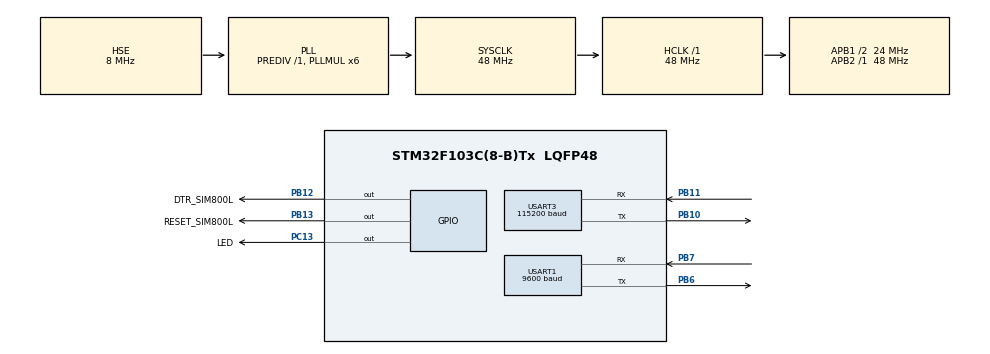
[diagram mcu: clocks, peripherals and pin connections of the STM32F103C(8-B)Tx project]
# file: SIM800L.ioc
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FREERTOS.Queues01=send_date,1,AMessage,0,Dynamic,NULL,NULL
FREERTOS.Tasks01=defaultTask,1,128,StartDefaultTask,Default,NULL,Dynamic,NULL,NULL;GPS,0,300,get_gps_str,Default,NULL,Dynamic,NULL,NULL;SIM800l,-1,300,sim800l_send,Default,NULL,Dynamic,NULL,NULL
FREERTOS.configTOTAL_HEAP_SIZE=10000
FREERTOS.configUSE_STATS_FORMATTING_FUNCTIONS=0
FREERTOS.configUSE_TRACE_FACILITY=0
Mcu.Family=STM32F1
Mcu.Name=STM32F103C(8-B)Tx
Mcu.Package=LQFP48
NVIC.PriorityGroup=NVIC_PRIORITYGROUP_4
NVIC.TIM1_UP_IRQn=true\:0\:0\:false\:false\:true\:false\:false\:true
NVIC.TimeBase=TIM1_UP_IRQn
NVIC.TimeBaseIP=TIM1
PA13.Mode=Trace_Asynchronous_SW
PA13.Signal=SYS_JTMS-SWDIO
PA14.Mode=Trace_Asynchronous_SW
PA14.Signal=SYS_JTCK-SWCLK
PB10.Mode=Asynchronous
PB10.Signal=USART3_TX
PB11.Mode=Asynchronous
PB11.Signal=USART3_RX
PB12.GPIO_Label=DTR_SIM800L
PB12.Signal=GPIO_Output
PB13.GPIO_Label=RESET_SIM800L
PB13.PinState=GPIO_PIN_SET
PB13.Signal=GPIO_Output
PB3.Mode=Trace_Asynchronous_SW
PB3.Signal=SYS_JTDO-TRACESWO
PB6.Mode=Asynchronous
PB6.Signal=USART1_TX
PB7.Mode=Asynchronous
PB7.Signal=USART1_RX
PC13-TAMPER-RTC.GPIO_Label=LED
PC13-TAMPER-RTC.PinState=GPIO_PIN_SET
PC13-TAMPER-RTC.Signal=GPIO_Output
PC14-OSC32_IN.Mode=LSE-External-Oscillator
PC14-OSC32_IN.Signal=RCC_OSC32_IN
PC15-OSC32_OUT.Mode=LSE-External-Oscillator
PC15-OSC32_OUT.Signal=RCC_OSC32_OUT
PD0-OSC_IN.Mode=HSE-External-Oscillator
PD0-OSC_IN.Signal=RCC_OSC_IN
PD1-OSC_OUT.Mode=HSE-External-Oscillator
PD1-OSC_OUT.Signal=RCC_OSC_OUT
ProjectManager.HeapSize=0x200
ProjectManager.StackSize=0x400
ProjectManager.TargetToolchain=MDK-ARM V5.27
RCC.AHBFreq_Value=48000000
RCC.APB1CLKDivider=RCC_HCLK_DIV2
RCC.APB1Freq_Value=24000000
RCC.APB1TimFreq_Value=48000000
RCC.APB2Freq_Value=48000000
RCC.APB2TimFreq_Value=48000000
RCC.HCLKFreq_Value=48000000
RCC.PLLMUL=RCC_PLL_MUL6
RCC.PLLSourceVirtual=RCC_PLLSOURCE_HSE
RCC.RTCClockSelection=RCC_RTCCLKSOURCE_LSE
RCC.SYSCLKFreq_VALUE=48000000
RCC.SYSCLKSource=RCC_SYSCLKSOURCE_PLLCLK
RCC.USBFreq_Value=48000000
RTC.Format=RTC_FORMAT_BIN
USART1.BaudRate=9600
USART1.Mode=MODE_RX
USART1.VirtualMode=VM_ASYNC
USART3.BaudRate=115200
USART3.VirtualMode=VM_ASYNC
VP_FREERTOS_VS_CMSIS_V1.Mode=CMSIS_V1
VP_RTC_No_RTC_Output.Mode=RTC_OUT_NO
VP_RTC_VS_RTC_Activate.Mode=RTC_Enabled
VP_RTC_VS_RTC_Calendar.Mode=RTC_Calendar
VP_SYS_VS_tim1.Mode=TIM1
board=custom

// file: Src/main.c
/* USER CODE BEGIN Header */
/**
  ******************************************************************************
  * @file           : main.h
  * @brief          : Header for main.c file.
  *                   This file contains the common defines of the application.
  ******************************************************************************
  * @attention
  *
  * <h2><center>&copy; Copyright (c) 2020 STMicroelectronics.
  * All rights reserved.</center></h2>
  *
  * This software component is licensed by ST under BSD 3-Clause license,
  * the "License"; You may not use this file except in compliance with the
  * License. You may obtain a copy of the License at:
  *                        opensource.org/licenses/BSD-3-Clause
  *
  ******************************************************************************
  */
/* USER CODE END Header */

#include "main.h"
#include "cmsis_os.h"

/* USER CODE BEGIN Includes */
#include <stdio.h>
#include <stdbool.h>
#include <string.h>
#include "my_function.h"
#include "my_asm.h"
//#include <stdarg.h>
//#include <stdbool.h>
//#include <stdlib.h>
/* USER CODE END Includes */

/* USER CODE BEGIN PTD */
typedef char AMessage[22];
/* USER CODE END PTD */

RTC_HandleTypeDef hrtc;

UART_HandleTypeDef huart1;
UART_HandleTypeDef huart3;

osThreadId defaultTaskHandle;
osThreadId GPSHandle;
osThreadId SIM800lHandle;
osMessageQId send_dateHandle;

void SystemClock_Config(void);
static void MX_GPIO_Init(void);
static void MX_USART1_UART_Init(void);
static void MX_USART3_UART_Init(void);
static void MX_RTC_Init(void);
void StartDefaultTask(void const * argument);
void get_gps_str(void const * argument);
void sim800l_send(void const * argument);

int main(void)
{
  /* USER CODE BEGIN 1 */
		const char *a = "Hello world!";
    char b[20];
    my_strcpy(a, b);

	//void (*fp)(void) = (void (*)(void))(0x00000000);
    //fp();

//my_HardFault_Handler();
  /* USER CODE END 1 */

  /* MCU Configuration--------------------------------------------------------*/

  /* Reset of all peripherals, Initializes the Flash interface and the Systick. */
  HAL_Init();

  /* Configure the system clock */
  SystemClock_Config();

  /* Initialize all configured peripherals */
  MX_GPIO_Init();
  MX_USART1_UART_Init();
  MX_USART3_UART_Init();
  MX_RTC_Init();

  /* Create the queue(s) */
  /* definition and creation of send_date */
  osMessageQDef(send_date, 1, AMessage);
  send_dateHandle = osMessageCreate(osMessageQ(send_date), NULL);

  /* Create the thread(s) */
  /* definition and creation of defaultTask */
  osThreadDef(defaultTask, StartDefaultTask, osPriorityAboveNormal, 0, 128);
  defaultTaskHandle = osThreadCreate(osThread(defaultTask), NULL);

  /* definition and creation of GPS */
  osThreadDef(GPS, get_gps_str, osPriorityNormal, 0, 300);
  GPSHandle = osThreadCreate(osThread(GPS), NULL);

  /* definition and creation of SIM800l */
  osThreadDef(SIM800l, sim800l_send, osPriorityBelowNormal, 0, 300);
  SIM800lHandle = osThreadCreate(osThread(SIM800l), NULL);

  /* Start scheduler */
  osKernelStart();

  /* We should never get here as control is now taken by the scheduler */

  /* Infinite loop */
  while (1)
  {

  }
}

void SystemClock_Config(void)
{
  RCC_OscInitTypeDef RCC_OscInitStruct = {0};
  RCC_ClkInitTypeDef RCC_ClkInitStruct = {0};
  RCC_PeriphCLKInitTypeDef PeriphClkInit = {0};

  /** Initializes the CPU, AHB and APB busses clocks
  */
  RCC_OscInitStruct.OscillatorType = RCC_OSCILLATORTYPE_HSE|RCC_OSCILLATORTYPE_LSE;
  RCC_OscInitStruct.HSEState = RCC_HSE_ON;
  RCC_OscInitStruct.HSEPredivValue = RCC_HSE_PREDIV_DIV1;
  RCC_OscInitStruct.LSEState = RCC_LSE_ON;
  RCC_OscInitStruct.HSIState = RCC_HSI_ON;
  RCC_OscInitStruct.PLL.PLLState = RCC_PLL_ON;
  RCC_OscInitStruct.PLL.PLLSource = RCC_PLLSOURCE_HSE;
  RCC_OscInitStruct.PLL.PLLMUL = RCC_PLL_MUL6;
  if (HAL_RCC_OscConfig(&RCC_OscInitStruct) != HAL_OK)
  {
    Error_Handler();
  }
  /** Initializes the CPU, AHB and APB busses clocks
  */
  RCC_ClkInitStruct.ClockType = RCC_CLOCKTYPE_HCLK|RCC_CLOCKTYPE_SYSCLK
                              |RCC_CLOCKTYPE_PCLK1|RCC_CLOCKTYPE_PCLK2;
  RCC_ClkInitStruct.SYSCLKSource = RCC_SYSCLKSOURCE_PLLCLK;
  RCC_ClkInitStruct.AHBCLKDivider = RCC_SYSCLK_DIV1;
  RCC_ClkInitStruct.APB1CLKDivider = RCC_HCLK_DIV2;
  RCC_ClkInitStruct.APB2CLKDivider = RCC_HCLK_DIV1;

  if (HAL_RCC_ClockConfig(&RCC_ClkInitStruct, FLASH_LATENCY_1) != HAL_OK)
  {
    Error_Handler();
  }
  PeriphClkInit.PeriphClockSelection = RCC_PERIPHCLK_RTC;
  PeriphClkInit.RTCClockSelection = RCC_RTCCLKSOURCE_LSE;
  if (HAL_RCCEx_PeriphCLKConfig(&PeriphClkInit) != HAL_OK)
  {
    Error_Handler();
  }
}

static void MX_RTC_Init(void)
{

  RTC_TimeTypeDef sTime = {0};
  RTC_DateTypeDef DateToUpdate = {0};

  /** Initialize RTC Only
  */
  hrtc.Instance = RTC;
  hrtc.Init.AsynchPrediv = RTC_AUTO_1_SECOND;
  hrtc.Init.OutPut = RTC_OUTPUTSOURCE_NONE;
  if (HAL_RTC_Init(&hrtc) != HAL_OK)
  {
    Error_Handler();
  }

  /** Initialize RTC and set the Time and Date
  */
  sTime.Hours = 0;
  sTime.Minutes = 0;
  sTime.Seconds = 0;

  if (HAL_RTC_SetTime(&hrtc, &sTime, RTC_FORMAT_BIN) != HAL_OK)
  {
    Error_Handler();
  }
  DateToUpdate.WeekDay = RTC_WEEKDAY_MONDAY;
  DateToUpdate.Month = RTC_MONTH_JANUARY;
  DateToUpdate.Date = 1;
  DateToUpdate.Year = 0;

  if (HAL_RTC_SetDate(&hrtc, &DateToUpdate, RTC_FORMAT_BIN) != HAL_OK)
  {
    Error_Handler();
  }

}

static void MX_USART1_UART_Init(void)
{

  huart1.Instance = USART1;
  huart1.Init.BaudRate = 9600;
  huart1.Init.WordLength = UART_WORDLENGTH_8B;
  huart1.Init.StopBits = UART_STOPBITS_1;
  huart1.Init.Parity = UART_PARITY_NONE;
  huart1.Init.Mode = UART_MODE_RX;
  huart1.Init.HwFlowCtl = UART_HWCONTROL_NONE;
  huart1.Init.OverSampling = UART_OVERSAMPLING_16;
  if (HAL_UART_Init(&huart1) != HAL_OK)
  {
    Error_Handler();
  }

}

static void MX_USART3_UART_Init(void)
{

  huart3.Instance = USART3;
  huart3.Init.BaudRate = 115200;
  huart3.Init.WordLength = UART_WORDLENGTH_8B;
  huart3.Init.StopBits = UART_STOPBITS_1;
  huart3.Init.Parity = UART_PARITY_NONE;
  huart3.Init.Mode = UART_MODE_TX_RX;
  huart3.Init.HwFlowCtl = UART_HWCONTROL_NONE;
  huart3.Init.OverSampling = UART_OVERSAMPLING_16;
  if (HAL_UART_Init(&huart3) != HAL_OK)
  {
    Error_Handler();
  }

}

static void MX_GPIO_Init(void)
{
  GPIO_InitTypeDef GPIO_InitStruct = {0};

  /* GPIO Ports Clock Enable */
  __HAL_RCC_GPIOC_CLK_ENABLE();
  __HAL_RCC_GPIOD_CLK_ENABLE();
  __HAL_RCC_GPIOB_CLK_ENABLE();
  __HAL_RCC_GPIOA_CLK_ENABLE();

  /*Configure GPIO pin Output Level */
  HAL_GPIO_WritePin(LED_GPIO_Port, LED_Pin, GPIO_PIN_SET);

  /*Configure GPIO pin Output Level */
  HAL_GPIO_WritePin(DTR_SIM800L_GPIO_Port, DTR_SIM800L_Pin, GPIO_PIN_RESET);

  /*Configure GPIO pin Output Level */
  HAL_GPIO_WritePin(RESET_SIM800L_GPIO_Port, RESET_SIM800L_Pin, GPIO_PIN_SET);

  /*Configure GPIO pin : LED_Pin */
  GPIO_InitStruct.Pin = LED_Pin;
  GPIO_InitStruct.Mode = GPIO_MODE_OUTPUT_PP;
  GPIO_InitStruct.Pull = GPIO_NOPULL;
  GPIO_InitStruct.Speed = GPIO_SPEED_FREQ_LOW;
  HAL_GPIO_Init(LED_GPIO_Port, &GPIO_InitStruct);

  /*Configure GPIO pins : DTR_SIM800L_Pin RESET_SIM800L_Pin */
  GPIO_InitStruct.Pin = DTR_SIM800L_Pin|RESET_SIM800L_Pin;
  GPIO_InitStruct.Mode = GPIO_MODE_OUTPUT_PP;
  GPIO_InitStruct.Pull = GPIO_NOPULL;
  GPIO_InitStruct.Speed = GPIO_SPEED_FREQ_LOW;
  HAL_GPIO_Init(GPIOB, &GPIO_InitStruct);

}

void StartDefaultTask(void const * argument)
{
  /* USER CODE BEGIN 5 */
//		static char buf[20];
//		char* pointer;
  /* Infinite loop */
  for(;;)
  {
	while(set_RTC());//���������� ����
		HAL_GPIO_WritePin(LED_GPIO_Port, LED_Pin, GPIO_PIN_RESET);
		HAL_Delay(500);
		printf("Date and time successfully set!\r\n");
	osDelay(1);
	}

  /* USER CODE END 5 */
}

void get_gps_str(void const * argument)
{
  /* USER CODE BEGIN get_gps_str */
	//char buf[200];
	char* tmp;

	vTaskSuspend(defaultTaskHandle);//������ �������� � ������ ������ "StartDefaultTask()"
	HAL_GPIO_WritePin(LED_GPIO_Port, LED_Pin, GPIO_PIN_SET);

  /* Infinite loop */
  for(;;)
  {
		//printf("Task \"get_gps_str\" start!\r\n");
		do{tmp=make_array_of_coordinate();}
		while(tmp==false);
			xQueueSend(send_dateHandle,tmp,0);
			printf("Coordinates sent to the queue OK!\r\n");
		//printf("Task \"get_gps_str\" stop!\r\n");
//		vTaskList(buf);
//		printf("%s\r\n",buf);
    osDelay(1);
  }
  /* USER CODE END get_gps_str */
}

void sim800l_send(void const * argument)
{
  /* USER CODE BEGIN sim800l_send */
	AMessage Message_str;
	uint8_t foult_countner=0;
	//char buf[200];
  /* Infinite loop */
  for(;;)
  {
		//printf("Task \"sim800l_send\" start!\r\n");
		vTaskSuspend(GPSHandle);// ������ � ������ ������ "get_gps_str()"
		if( send_dateHandle != NULL )
		{
      if( xQueueReceive( send_dateHandle,Message_str,0))
      {
      if(send_message((char*)Message_str))
				{
					printf("Message delivered to a remote SQL OK!\r\n\r\n");
					foult_countner=0;
					flash_led(2,300);
				}
				else
				{
					foult_countner++;
					printf("Message NOT delivered, FOULT!\r\n""foult_countner=%d\r\n",foult_countner);
					if(foult_countner>5)
						{
						foult_handler();
						foult_countner=0;
						flash_led(6,100);
						}
				}
			HAL_Delay(2000);
			}
//		vTaskList(buf);
//		printf("%s\r\n",buf);
		}
//		else
//		{printf("Message NOT delivered, FOULT!\r\n");	}
		//printf("Task \"sim800l_send\" stop!\r\n");
		vTaskResume( GPSHandle );//������� �� ������ ������ "get_gps_str()"
		//osDelay(1);
		//__NOP();
	}
  /* USER CODE END sim800l_send */
}

void HAL_TIM_PeriodElapsedCallback(TIM_HandleTypeDef *htim)
{
  if (htim->Instance == TIM1) {
    HAL_IncTick();
  }
}

void Error_Handler(void)
{
}

/************************ (C) COPYRIGHT STMicroelectronics *****END OF FILE****/
